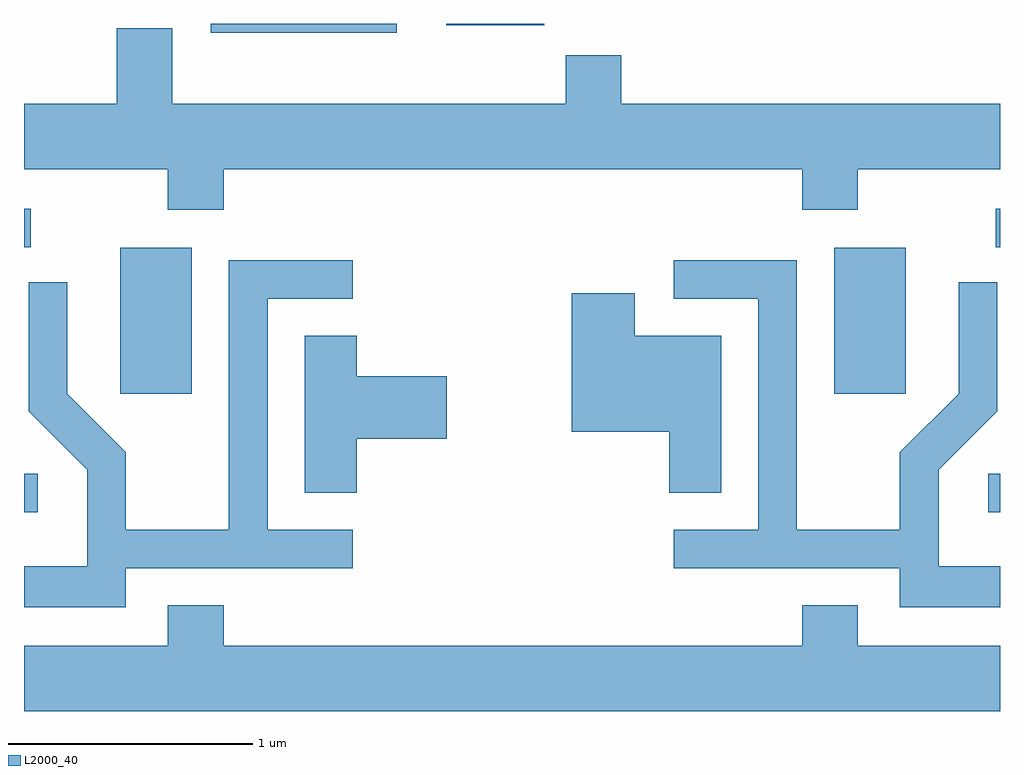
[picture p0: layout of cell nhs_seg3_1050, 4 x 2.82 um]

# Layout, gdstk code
import gdstk
lib = gdstk.Library(unit=1e-6, precision=1e-09)
def R(c, l, rs):  # rectangles x0, y0, x1, y1
    for r in rs: c.add(gdstk.rectangle(r[:2], r[2:], *l))
def P(c, l, *ps):  # polygons
    for p in ps: c.add(gdstk.Polygon(p, *l))
L2000_40 = (2000, 40)

nhs_seg3_1050 = lib.new_cell('nhs_seg3_1050')
R(nhs_seg3_1050, L2000_40, [(215.611,1177.891,215.668,1178.049), (219.563,1177.891,219.611,1178.049), (216.006,1178.376,216.299,1178.974), (218.931,1178.376,219.224,1178.974), (215.611,1178.976,215.638,1179.134), (219.593,1178.976,219.611,1179.134), (216.376,1179.856,217.139,1179.892), (217.341,1179.886,217.744,1179.892)])
P(nhs_seg3_1050, L2000_40, [(216.429,1179.296),(218.801,1179.296),(218.801,1179.131),(219.029,1179.131),(219.029,1179.296),(219.611,1179.296),(219.611,1179.564),(218.059,1179.564),(218.059,1179.764),(217.831,1179.764),(217.831,1179.564),(216.219,1179.564),(216.219,1179.874),(215.991,1179.874),(215.991,1179.564),(215.611,1179.564),(215.611,1179.296),(216.201,1179.296),(216.201,1179.131),(216.429,1179.131)],
  [(216.029,1177.661),(216.958,1177.661),(216.958,1177.819),(216.609,1177.819),(216.609,1178.766),(216.958,1178.766),(216.958,1178.924),(216.451,1178.924),(216.451,1177.819),(216.029,1177.819),(216.029,1178.137),(215.789,1178.377),(215.789,1178.833),(215.631,1178.833),(215.631,1178.304),(215.871,1178.064),(215.871,1177.669),(215.611,1177.669),(215.611,1177.501),(216.029,1177.501)],
  [(219.611,1177.669),(219.359,1177.669),(219.359,1178.064),(219.599,1178.304),(219.599,1178.833),(219.441,1178.833),(219.441,1178.377),(219.201,1178.137),(219.201,1177.819),(218.779,1177.819),(218.779,1178.924),(218.273,1178.924),(218.273,1178.766),(218.621,1178.766),(218.621,1177.819),(218.273,1177.819),(218.273,1177.661),(219.201,1177.661),(219.201,1177.501),(219.611,1177.501)],
  [(218.469,1178.614),(218.114,1178.614),(218.114,1178.789),(217.856,1178.789),(217.856,1178.221),(218.256,1178.221),(218.256,1177.971),(218.469,1177.971)],
  [(216.974,1178.191),(217.344,1178.191),(217.344,1178.449),(216.974,1178.449),(216.974,1178.614),(216.761,1178.614),(216.761,1177.971),(216.974,1177.971)],
  [(219.611,1177.344),(219.029,1177.344),(219.029,1177.509),(218.801,1177.509),(218.801,1177.344),(216.429,1177.344),(216.429,1177.509),(216.201,1177.509),(216.201,1177.344),(215.611,1177.344),(215.611,1177.076),(219.611,1177.076)])

lib.write_gds('nhs_seg3_1050.gds')
